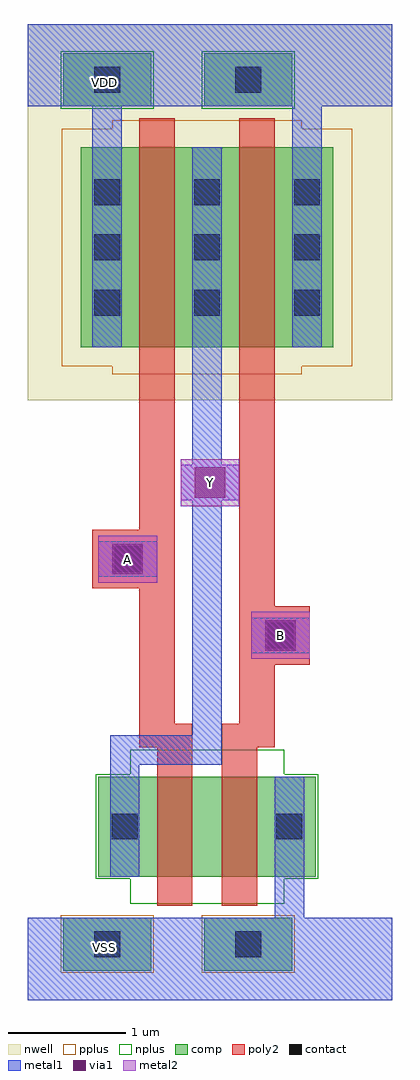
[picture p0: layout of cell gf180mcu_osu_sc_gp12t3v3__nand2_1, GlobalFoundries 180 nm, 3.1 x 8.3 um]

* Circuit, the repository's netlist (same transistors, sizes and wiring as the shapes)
* Copyright 2022 Google LLC
*
* Licensed under the Apache License, Version 2.0 (the "License");
* you may not use this file except in compliance with the License.
* You may obtain a copy of the License at
*
*      http://www.apache.org/licenses/LICENSE-2.0
*
* Unless required by applicable law or agreed to in writing, software
* distributed under the License is distributed on an "AS IS" BASIS,
* WITHOUT WARRANTIES OR CONDITIONS OF ANY KIND, either express or implied.
* See the License for the specific language governing permissions and
* limitations under the License.

* NGSPICE file created from gf180mcu_osu_sc_gp12t3v3__nand2_1.ext - technology: gf180mcuC

.subckt gf180mcu_osu_sc_gp12t3v3__nand2_1 A B Y VDD VSS
X0 VDD B Y VDD pfet_03p3 w=1.7u l=0.3u
X1 Y A VDD VDD pfet_03p3 w=1.7u l=0.3u
X2 a_28_21# A Y VSS nfet_03p3 w=0.85u l=0.3u
X3 VSS B a_28_21# VSS nfet_03p3 w=0.85u l=0.3u
.ends

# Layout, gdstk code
import gdstk
lib = gdstk.Library(unit=1e-6, precision=1e-09)
def R(c, l, rs):  # rectangles x0, y0, x1, y1
    for r in rs: c.add(gdstk.rectangle(r[:2], r[2:], *l))
def A(c, l, x, y, w, h, nx, ny, dx, dy):  # array of equal rectangles
    R(c, l, [(x+i*dx, y+j*dy, x+i*dx+w, y+j*dy+h) for i in range(nx) for j in range(ny)])
nwell = (21, 0)
comp = (22, 0)
poly2 = (30, 0)
pplus = (31, 0)
nplus = (32, 0)
contact = (33, 0)
metal1 = (34, 0)
via1 = (35, 0)
metal2 = (36, 0)

gf180mcu_osu_sc_gp12t3v3 = lib.new_cell('gf180mcu_osu_sc_gp12t3v3__nand2_1')
R(gf180mcu_osu_sc_gp12t3v3, nwell, [(0,5.1,3.1,8.3)])
R(gf180mcu_osu_sc_gp12t3v3, comp, [(0.3,0.25,1.05,0.7), (1.5,0.25,2.25,0.7), (0.6,1.05,2.45,1.9), (0.45,5.55,2.6,7.25), (0.3,7.6,1.05,8.05), (1.5,7.6,2.25,8.05)])
R(gf180mcu_osu_sc_gp12t3v3, poly2, [(1.1,0.8,1.4,2.15), (1.65,0.8,1.95,2.15), (0.95,2.15,1.4,2.35), (1.65,2.15,2.1,2.35), (0.95,2.35,1.25,3.5), (1.8,2.35,2.1,2.85), (1.8,2.85,2.4,3.35), (1.8,3.35,2.1,7.5), (0.55,3.5,1.25,4), (0.95,4,1.25,7.5)])
R(gf180mcu_osu_sc_gp12t3v3, pplus, [(0.28,0.23,1.07,0.72), (1.48,0.23,2.27,0.72), (0.72,5.32,2.33,5.39), (0.29,5.39,2.76,7.41), (0.72,7.41,2.33,7.48)])
R(gf180mcu_osu_sc_gp12t3v3, nplus, [(0.87,0.82,2.18,1.03), (0.58,1.03,2.47,1.92), (0.87,1.92,2.18,2.13), (0.28,7.58,1.07,8.07), (1.48,7.58,2.27,8.07)])
A(gf180mcu_osu_sc_gp12t3v3, contact, 0.565, 5.82, 0.22, 0.22, 3, 3, 0.85, 0.47)
R(gf180mcu_osu_sc_gp12t3v3, contact, [(0.565,0.365,0.785,0.585), (1.765,0.365,1.985,0.585), (0.715,1.365,0.935,1.585), (2.115,1.365,2.335,1.585), (2.04,2.99,2.26,3.21), (0.74,3.64,0.96,3.86), (0.565,7.715,0.785,7.935), (1.765,7.715,1.985,7.935)])
R(gf180mcu_osu_sc_gp12t3v3, metal1, [(0,0,3.1,0.7), (2.1,0.7,2.35,1.9), (0.7,1.05,0.95,2), (0.7,2,1.65,2.25), (1.4,2.25,1.65,4.25), (1.9,2.95,2.4,3.25), (0.6,3.6,1.1,3.9), (1.3,4.25,1.8,4.55), (1.4,4.55,1.65,7.25), (0.55,5.55,0.8,7.6), (2.25,5.55,2.5,7.6), (0,7.6,3.1,8.3)])
R(gf180mcu_osu_sc_gp12t3v3, via1, [(2.02,2.97,2.28,3.23), (0.72,3.62,0.98,3.88), (1.42,4.27,1.68,4.53)])
R(gf180mcu_osu_sc_gp12t3v3, metal2, [(1.9,2.9,2.4,3.3), (0.6,3.55,1.1,3.95), (1.3,4.2,1.8,4.6)])
gf180mcu_osu_sc_gp12t3v3.add(gdstk.Label('A', (0.85,3.75), layer=36, texttype=10))
gf180mcu_osu_sc_gp12t3v3.add(gdstk.Label('B', (2.15,3.1), layer=36, texttype=10))
gf180mcu_osu_sc_gp12t3v3.add(gdstk.Label('Y', (1.55,4.4), layer=36, texttype=10))
gf180mcu_osu_sc_gp12t3v3.add(gdstk.Label('VDD', (0.65,7.8), layer=34, texttype=10))
gf180mcu_osu_sc_gp12t3v3.add(gdstk.Label('VSS', (0.65,0.45), layer=34, texttype=10))

lib.write_gds('gf180mcu_osu_sc_gp12t3v3__nand2_1.gds')
